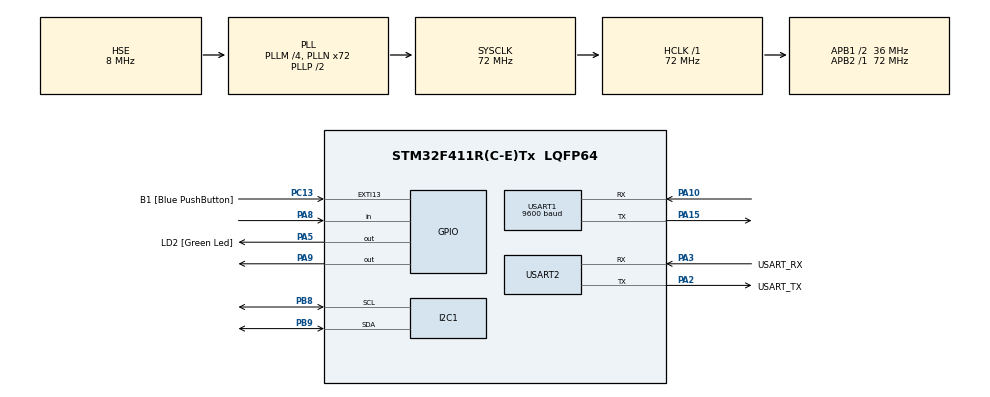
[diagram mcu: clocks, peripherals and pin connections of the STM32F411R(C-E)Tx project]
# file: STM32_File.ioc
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Mcu.Family=STM32F4
Mcu.Name=STM32F411R(C-E)Tx
Mcu.Package=LQFP64
NVIC.I2C1_EV_IRQn=true\:0\:0\:false\:false\:true\:true\:true\:true
NVIC.PriorityGroup=NVIC_PRIORITYGROUP_0
PA10.Mode=Asynchronous
PA10.Signal=USART1_RX
PA13.GPIO_Label=TMS
PA13.Mode=Serial_Wire
PA13.Signal=SYS_JTMS-SWDIO
PA14.GPIO_Label=TCK
PA14.Mode=Serial_Wire
PA14.Signal=SYS_JTCK-SWCLK
PA15.Mode=Asynchronous
PA15.Signal=USART1_TX
PA2.GPIO_Label=USART_TX
PA2.Mode=Asynchronous
PA2.Signal=USART2_TX
PA3.GPIO_Label=USART_RX
PA3.Mode=Asynchronous
PA3.Signal=USART2_RX
PA5.GPIO_Label=LD2 [Green Led]
PA5.Signal=GPIO_Output
PA8.Signal=GPIO_Input
PA9.Signal=GPIO_Output
PB3.GPIO_Label=SWO
PB3.Signal=SYS_JTDO-SWO
PB8.Mode=I2C
PB8.Signal=I2C1_SCL
PB9.Mode=I2C
PB9.Signal=I2C1_SDA
PC13-ANTI_TAMP.GPIO_Label=B1 [Blue PushButton]
PC13-ANTI_TAMP.GPIO_ModeDefaultEXTI=GPIO_MODE_IT_FALLING
PC13-ANTI_TAMP.Signal=GPXTI13
PC14-OSC32_IN.Signal=RCC_OSC32_IN
PC15-OSC32_OUT.Signal=RCC_OSC32_OUT
PH0\ -\ OSC_IN.Mode=HSE-External-Oscillator
PH0\ -\ OSC_IN.Signal=RCC_OSC_IN
PH1\ -\ OSC_OUT.Mode=HSE-External-Oscillator
PH1\ -\ OSC_OUT.Signal=RCC_OSC_OUT
ProjectManager.HeapSize=0x200
ProjectManager.StackSize=0x400
ProjectManager.TargetToolchain=STM32CubeIDE
RCC.48MHZClocksFreq_Value=36000000
RCC.AHBFreq_Value=72000000
RCC.APB1CLKDivider=RCC_HCLK_DIV2
RCC.APB1Freq_Value=36000000
RCC.APB1TimFreq_Value=72000000
RCC.APB2Freq_Value=72000000
RCC.APB2TimFreq_Value=72000000
RCC.CortexFreq_Value=72000000
RCC.FLatency-AdvancedSettings=FLASH_LATENCY_2
RCC.HCLKFreq_Value=72000000
RCC.HSE_VALUE=8000000
RCC.HSI_VALUE=16000000
RCC.LSE_VALUE=32768
RCC.PLLM=4
RCC.PLLN=72
RCC.PLLSourceVirtual=RCC_PLLSOURCE_HSE
RCC.SYSCLKFreq_VALUE=72000000
RCC.SYSCLKSource=RCC_SYSCLKSOURCE_PLLCLK
RCC.VCOOutputFreq_Value=144000000
TIM1.Prescaler=71
USART1.BaudRate=9600
USART1.VirtualMode=VM_ASYNC
USART2.VirtualMode=VM_ASYNC
VP_TIM1_VS_ClockSourceINT.Mode=Internal
board=NUCLEO-F411RE

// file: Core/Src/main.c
/* USER CODE BEGIN Header */
/**
 ******************************************************************************
 * @file           : main.c
 * @brief          : Main program body
 ******************************************************************************
 * @attention
 *
 * Copyright (c) 2022 STMicroelectronics.
 * All rights reserved.
 *
 * This software is licensed under terms that can be found in the LICENSE file
 * in the root directory of this software component.
 * If no LICENSE file comes with this software, it is provided AS-IS.
 *
 ******************************************************************************
 */
/* USER CODE END Header */
#include "main.h"

I2C_HandleTypeDef hi2c1;

TIM_HandleTypeDef htim1;

UART_HandleTypeDef huart1;
UART_HandleTypeDef huart2;

/* USER CODE BEGIN PV */
#define TRIG_PIN GPIO_PIN_9
#define TRIG_PORT GPIOA
#define ECHO_PIN GPIO_PIN_8
#define ECHO_PORT GPIOA
uint32_t pMillis;
uint32_t Value1 = 0;
uint32_t Value2 = 0;
uint16_t Distance = 0;  // cm
/* USER CODE END PV */

void SystemClock_Config(void);
static void MX_GPIO_Init(void);
static void MX_USART2_UART_Init(void);
static void MX_TIM1_Init(void);
static void MX_I2C1_Init(void);
static void MX_USART1_UART_Init(void);

/* USER CODE BEGIN 0 */
#define MPU6050_ADDR 0xD0
#define SMPLRT_DIV_REG 0x19
#define GYRO_CONFIG_REG 0x1B
#define ACCEL_CONFIG_REG 0x1C
#define ACCEL_XOUT_H_REG 0X3B
#define TEMP_OUT_H_REG 0x41
#define GYRO_XOUT_H_REG 0x43
#define PWR_MGMT_1_REG 0x6B
#define WHO_AM_I_REG 0x75

void MPU6050_Init(void) {
	uint8_t check, Data;
	HAL_I2C_Mem_Read(&hi2c1, MPU6050_ADDR, WHO_AM_I_REG, 1, &check, 1, 1000);
	if (check == 104) {
		Data = 0x00;
		HAL_I2C_Mem_Write(&hi2c1, MPU6050_ADDR, PWR_MGMT_1_REG, 1, &Data, 1,
				1000);
		Data = 0x07;
		HAL_I2C_Mem_Write(&hi2c1, MPU6050_ADDR, SMPLRT_DIV_REG, 1, &Data, 1,
				1000);
	}
}
void MPU6050_Read_Accel(int temp) {
	uint8_t Rec_Data[6];
	HAL_I2C_Mem_Read(&hi2c1, MPU6050_ADDR, ACCEL_XOUT_H_REG, 1, Rec_Data,
			sizeof(Rec_Data), 1000);

	int16_t Accel_X_RAW = (int16_t) (Rec_Data[0] << 8 | Rec_Data[1]);
	int16_t Accel_Y_RAW = (int16_t) (Rec_Data[2] << 8 | Rec_Data[3]);
	int16_t Accel_Z_RAW = (int16_t) (Rec_Data[4] << 8 | Rec_Data[5]);

	float Ax = Accel_X_RAW / 16384.0;
	float Ay = Accel_Y_RAW / 16384.0;
	float Az = Accel_Z_RAW / 16384.0;
//	float Ax = Accel_X_RAW;
//	float Ay = Accel_Y_RAW;
//	float Az = Accel_Z_RAW;
	float A = (sqrt(Ax * Ax + Ay * Ay + Az * Az) + temp / 100) / 2;
	char buff[32];
	char c2[32];

	if (A >= 0.47) {
		sprintf(buff, "%d", -1);
		HAL_UART_Transmit(&huart1, buff, strlen(buff), 100);
		sprintf(c2, "\r%d\n", A);

		HAL_UART_Transmit(&huart2, &c2, strlen(c2), 100);
	} else {
		sprintf(buff, "%d", 0);
		HAL_UART_Transmit(&huart1, buff, strlen(buff), 100);
	}

}

void MPU6050_Read_Gyro(void) {
	uint8_t Rec_Data[6];
	HAL_I2C_Mem_Read(&hi2c1, MPU6050_ADDR, GYRO_XOUT_H_REG, 1, Rec_Data, 6,
			1000);

	int16_t Gyro_X_RAW = (int16_t) (Rec_Data[0] << 8 | Rec_Data[1]);
	int16_t Gyro_Y_RAW = (int16_t) (Rec_Data[2] << 8 | Rec_Data[3]);
	int16_t Gyro_Z_RAW = (int16_t) (Rec_Data[4] << 8 | Rec_Data[5]);

	float Gx = Gyro_X_RAW / 131.0;
	float Gy = Gyro_Y_RAW / 131.0;
	float Gz = Gyro_Z_RAW / 131.0;
//	float Gx = Gyro_X_RAW;
//	float Gy = Gyro_Y_RAW;
//	float Gz = Gyro_Z_RAW;
	float G = sqrt(Gx * Gx + Gy * Gy + Gz * Gz);
	char buff[32];
	sprintf(buff, "\rG : %.2f\n", G);
	HAL_UART_Transmit(&huart1, buff, strlen(buff), 100);

}
/* USER CODE END 0 */

int main(void) {

	/* MCU Configuration--------------------------------------------------------*/

	/* Reset of all peripherals, Initializes the Flash interface and the Systick. */
	HAL_Init();

	/* Configure the system clock */
	SystemClock_Config();

	/* Initialize all configured peripherals */
	MX_GPIO_Init();
	MX_USART2_UART_Init();
	MX_TIM1_Init();
	MX_I2C1_Init();
	MX_USART1_UART_Init();
	/* USER CODE BEGIN 2 */
	HAL_TIM_Base_Start(&htim1);
	MPU6050_Init();
	HAL_GPIO_WritePin(TRIG_PORT, TRIG_PIN, GPIO_PIN_RESET); // pull the TRIG pin low
	/* USER CODE END 2 */

	/* Infinite loop */
	/* USER CODE BEGIN WHILE */
	while (1) {
		HAL_GPIO_WritePin(TRIG_PORT, TRIG_PIN, GPIO_PIN_SET); // pull the TRIG pin HIGH
		__HAL_TIM_SET_COUNTER(&htim1, 0);
		while (__HAL_TIM_GET_COUNTER (&htim1) < 10)
			;  // wait for 10 us
		HAL_GPIO_WritePin(TRIG_PORT, TRIG_PIN, GPIO_PIN_RESET); // pull the TRIG pin low

		pMillis = HAL_GetTick(); // used this to avoid infinite while loop  (for timeout)
		// wait for the echo pin to go high
		while (!(HAL_GPIO_ReadPin(ECHO_PORT, ECHO_PIN))
				&& pMillis + 10 > HAL_GetTick())
			;
		Value1 = __HAL_TIM_GET_COUNTER(&htim1);

		pMillis = HAL_GetTick(); // used this to avoid infinite while loop (for timeout)
		// wait for the echo pin to go low
		while ((HAL_GPIO_ReadPin(ECHO_PORT, ECHO_PIN))
				&& pMillis + 50 > HAL_GetTick())
			;
		Value2 = __HAL_TIM_GET_COUNTER(&htim1);

		Distance = (Value2 - Value1) * 0.034 / 2;
		char c[32];
		char c2[32];
		if (Distance < 30) {
			sprintf(c, "%d", -1);
			sprintf(c2, "\r%d\n", Distance);
			HAL_UART_Transmit(&huart1, &c, strlen(c), 100);
			HAL_UART_Transmit(&huart2, &c2, strlen(c2), 100);
		} else {
			sprintf(c, "%d", 0);
			HAL_UART_Transmit(&huart1, c, strlen(c), 100);
		}

		MPU6050_Read_Accel(Distance);
//		 MPU6050_Read_Gyro() ;

		HAL_Delay(1000);
		/* USER CODE END WHILE */

	}
}

void SystemClock_Config(void) {
	RCC_OscInitTypeDef RCC_OscInitStruct = { 0 };
	RCC_ClkInitTypeDef RCC_ClkInitStruct = { 0 };

	/** Configure the main internal regulator output voltage
	 */
	__HAL_RCC_PWR_CLK_ENABLE();
	__HAL_PWR_VOLTAGESCALING_CONFIG(PWR_REGULATOR_VOLTAGE_SCALE1);

	/** Initializes the RCC Oscillators according to the specified parameters
	 * in the RCC_OscInitTypeDef structure.
	 */
	RCC_OscInitStruct.OscillatorType = RCC_OSCILLATORTYPE_HSE;
	RCC_OscInitStruct.HSEState = RCC_HSE_ON;
	RCC_OscInitStruct.PLL.PLLState = RCC_PLL_ON;
	RCC_OscInitStruct.PLL.PLLSource = RCC_PLLSOURCE_HSE;
	RCC_OscInitStruct.PLL.PLLM = 4;
	RCC_OscInitStruct.PLL.PLLN = 72;
	RCC_OscInitStruct.PLL.PLLP = RCC_PLLP_DIV2;
	RCC_OscInitStruct.PLL.PLLQ = 4;
	if (HAL_RCC_OscConfig(&RCC_OscInitStruct) != HAL_OK) {
		Error_Handler();
	}

	/** Initializes the CPU, AHB and APB buses clocks
	 */
	RCC_ClkInitStruct.ClockType = RCC_CLOCKTYPE_HCLK | RCC_CLOCKTYPE_SYSCLK
			| RCC_CLOCKTYPE_PCLK1 | RCC_CLOCKTYPE_PCLK2;
	RCC_ClkInitStruct.SYSCLKSource = RCC_SYSCLKSOURCE_PLLCLK;
	RCC_ClkInitStruct.AHBCLKDivider = RCC_SYSCLK_DIV1;
	RCC_ClkInitStruct.APB1CLKDivider = RCC_HCLK_DIV2;
	RCC_ClkInitStruct.APB2CLKDivider = RCC_HCLK_DIV1;

	if (HAL_RCC_ClockConfig(&RCC_ClkInitStruct, FLASH_LATENCY_2) != HAL_OK) {
		Error_Handler();
	}
}

static void MX_I2C1_Init(void) {

	hi2c1.Instance = I2C1;
	hi2c1.Init.ClockSpeed = 100000;
	hi2c1.Init.DutyCycle = I2C_DUTYCYCLE_2;
	hi2c1.Init.OwnAddress1 = 0;
	hi2c1.Init.AddressingMode = I2C_ADDRESSINGMODE_7BIT;
	hi2c1.Init.DualAddressMode = I2C_DUALADDRESS_DISABLE;
	hi2c1.Init.OwnAddress2 = 0;
	hi2c1.Init.GeneralCallMode = I2C_GENERALCALL_DISABLE;
	hi2c1.Init.NoStretchMode = I2C_NOSTRETCH_DISABLE;
	if (HAL_I2C_Init(&hi2c1) != HAL_OK) {
		Error_Handler();
	}

}

static void MX_TIM1_Init(void) {

	TIM_ClockConfigTypeDef sClockSourceConfig = { 0 };
	TIM_MasterConfigTypeDef sMasterConfig = { 0 };

	htim1.Instance = TIM1;
	htim1.Init.Prescaler = 71;
	htim1.Init.CounterMode = TIM_COUNTERMODE_UP;
	htim1.Init.Period = 65535;
	htim1.Init.ClockDivision = TIM_CLOCKDIVISION_DIV1;
	htim1.Init.RepetitionCounter = 0;
	htim1.Init.AutoReloadPreload = TIM_AUTORELOAD_PRELOAD_DISABLE;
	if (HAL_TIM_Base_Init(&htim1) != HAL_OK) {
		Error_Handler();
	}
	sClockSourceConfig.ClockSource = TIM_CLOCKSOURCE_INTERNAL;
	if (HAL_TIM_ConfigClockSource(&htim1, &sClockSourceConfig) != HAL_OK) {
		Error_Handler();
	}
	sMasterConfig.MasterOutputTrigger = TIM_TRGO_RESET;
	sMasterConfig.MasterSlaveMode = TIM_MASTERSLAVEMODE_DISABLE;
	if (HAL_TIMEx_MasterConfigSynchronization(&htim1, &sMasterConfig)
			!= HAL_OK) {
		Error_Handler();
	}

}

static void MX_USART1_UART_Init(void) {

	huart1.Instance = USART1;
	huart1.Init.BaudRate = 9600;
	huart1.Init.WordLength = UART_WORDLENGTH_8B;
	huart1.Init.StopBits = UART_STOPBITS_1;
	huart1.Init.Parity = UART_PARITY_NONE;
	huart1.Init.Mode = UART_MODE_TX_RX;
	huart1.Init.HwFlowCtl = UART_HWCONTROL_NONE;
	huart1.Init.OverSampling = UART_OVERSAMPLING_16;
	if (HAL_UART_Init(&huart1) != HAL_OK) {
		Error_Handler();
	}

}

static void MX_USART2_UART_Init(void) {

	huart2.Instance = USART2;
	huart2.Init.BaudRate = 115200;
	huart2.Init.WordLength = UART_WORDLENGTH_8B;
	huart2.Init.StopBits = UART_STOPBITS_1;
	huart2.Init.Parity = UART_PARITY_NONE;
	huart2.Init.Mode = UART_MODE_TX_RX;
	huart2.Init.HwFlowCtl = UART_HWCONTROL_NONE;
	huart2.Init.OverSampling = UART_OVERSAMPLING_16;
	if (HAL_UART_Init(&huart2) != HAL_OK) {
		Error_Handler();
	}

}

static void MX_GPIO_Init(void) {
	GPIO_InitTypeDef GPIO_InitStruct = { 0 };

	/* GPIO Ports Clock Enable */
	__HAL_RCC_GPIOC_CLK_ENABLE();
	__HAL_RCC_GPIOH_CLK_ENABLE();
	__HAL_RCC_GPIOA_CLK_ENABLE();
	__HAL_RCC_GPIOB_CLK_ENABLE();

	/*Configure GPIO pin Output Level */
	HAL_GPIO_WritePin(GPIOA, LD2_Pin | GPIO_PIN_9, GPIO_PIN_RESET);

	/*Configure GPIO pin : B1_Pin */
	GPIO_InitStruct.Pin = B1_Pin;
	GPIO_InitStruct.Mode = GPIO_MODE_IT_FALLING;
	GPIO_InitStruct.Pull = GPIO_NOPULL;
	HAL_GPIO_Init(B1_GPIO_Port, &GPIO_InitStruct);

	/*Configure GPIO pins : LD2_Pin PA9 */
	GPIO_InitStruct.Pin = LD2_Pin | GPIO_PIN_9;
	GPIO_InitStruct.Mode = GPIO_MODE_OUTPUT_PP;
	GPIO_InitStruct.Pull = GPIO_NOPULL;
	GPIO_InitStruct.Speed = GPIO_SPEED_FREQ_LOW;
	HAL_GPIO_Init(GPIOA, &GPIO_InitStruct);

	/*Configure GPIO pin : PA8 */
	GPIO_InitStruct.Pin = GPIO_PIN_8;
	GPIO_InitStruct.Mode = GPIO_MODE_INPUT;
	GPIO_InitStruct.Pull = GPIO_NOPULL;
	HAL_GPIO_Init(GPIOA, &GPIO_InitStruct);

}

void Error_Handler(void) {
	__disable_irq();
	while (1) {
	}
}
